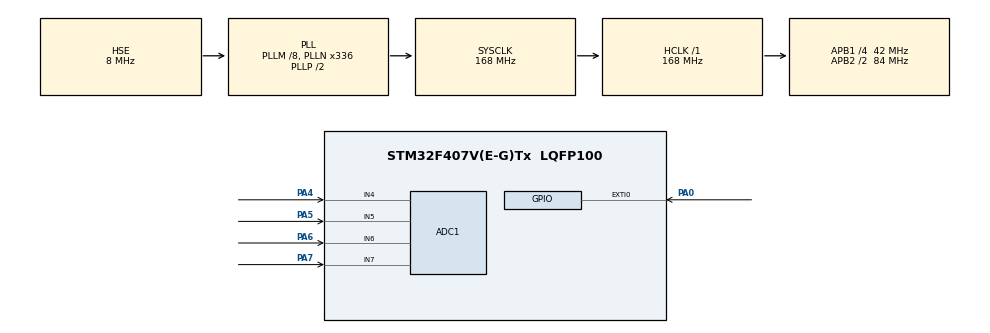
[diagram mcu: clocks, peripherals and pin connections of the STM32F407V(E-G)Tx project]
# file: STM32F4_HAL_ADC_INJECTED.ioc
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ADC1.Channel-0\#ChannelRegularConversion=ADC_CHANNEL_4
ADC1.Channel-1\#ChannelRegularConversion=ADC_CHANNEL_5
ADC1.Channel-2\#ChannelInjectedConversion=ADC_CHANNEL_6
ADC1.Channel-3\#ChannelInjectedConversion=ADC_CHANNEL_7
ADC1.EOCSelection=ADC_EOC_SINGLE_CONV
ADC1.InjNumberOfConversion=2
ADC1.InjectedOffset-2\#ChannelInjectedConversion=0
ADC1.InjectedOffset-3\#ChannelInjectedConversion=0
ADC1.NbrOfConversion=2
ADC1.NbrOfConversionFlag=1
ADC1.Rank-0\#ChannelRegularConversion=1
ADC1.Rank-1\#ChannelRegularConversion=2
ADC1.Rank-2\#ChannelInjectedConversion=1
ADC1.Rank-3\#ChannelInjectedConversion=2
ADC1.SamplingTime-0\#ChannelRegularConversion=ADC_SAMPLETIME_480CYCLES
ADC1.SamplingTime-1\#ChannelRegularConversion=ADC_SAMPLETIME_480CYCLES
ADC1.SamplingTime-2\#ChannelInjectedConversion=ADC_SAMPLETIME_480CYCLES
ADC1.SamplingTime-3\#ChannelInjectedConversion=ADC_SAMPLETIME_480CYCLES
ADC1.ScanConvMode=ENABLE
ADC1.master=1
Mcu.Family=STM32F4
Mcu.Name=STM32F407V(E-G)Tx
Mcu.Package=LQFP100
NVIC.ADC_IRQn=true\:0\:0\:false\:false\:true\:true
NVIC.EXTI0_IRQn=true\:0\:0\:false\:false\:true\:true
NVIC.PriorityGroup=NVIC_PRIORITYGROUP_0
PA0-WKUP.Signal=GPXTI0
PA4.Signal=ADCx_IN4
PA5.Signal=ADCx_IN5
PA6.Signal=ADCx_IN6
PA7.Signal=ADCx_IN7
PH0-OSC_IN.Mode=HSE-External-Oscillator
PH0-OSC_IN.Signal=RCC_OSC_IN
PH1-OSC_OUT.Mode=HSE-External-Oscillator
PH1-OSC_OUT.Signal=RCC_OSC_OUT
ProjectManager.HeapSize=0x200
ProjectManager.StackSize=0x400
ProjectManager.TargetToolchain=TrueSTUDIO
RCC.48MHZClocksFreq_Value=48000000
RCC.AHBFreq_Value=168000000
RCC.APB1CLKDivider=RCC_HCLK_DIV4
RCC.APB1Freq_Value=42000000
RCC.APB1TimFreq_Value=84000000
RCC.APB2CLKDivider=RCC_HCLK_DIV2
RCC.APB2Freq_Value=84000000
RCC.APB2TimFreq_Value=168000000
RCC.CortexFreq_Value=168000000
RCC.HCLKFreq_Value=168000000
RCC.HSE_VALUE=8000000
RCC.HSI_VALUE=16000000
RCC.PLLM=8
RCC.PLLN=336
RCC.PLLQ=7
RCC.PLLSourceVirtual=RCC_PLLSOURCE_HSE
RCC.SYSCLKFreq_VALUE=168000000
RCC.SYSCLKSource=RCC_SYSCLKSOURCE_PLLCLK
RCC.VCOOutputFreq_Value=336000000
SH.ADCx_IN4.0=ADC1_IN4,IN4
SH.ADCx_IN5.0=ADC1_IN5,IN5
SH.ADCx_IN6.0=ADC1_IN6,IN6
SH.ADCx_IN7.0=ADC1_IN7,IN7
board=STM32F4DISCOVERY

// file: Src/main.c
/**
 ******************************************************************************
 * @file           : main.c
 * @brief          : Main program body
 ******************************************************************************
 ** This notice applies to any and all portions of this file
 * that are not between comment pairs USER CODE BEGIN and
 * USER CODE END. Other portions of this file, whether
 * inserted by the user or by software development tools
 * are owned by their respective copyright owners.
 *
 * COPYRIGHT(c) 2019 STMicroelectronics
 *
 * Redistribution and use in source and binary forms, with or without modification,
 * are permitted provided that the following conditions are met:
 *   1. Redistributions of source code must retain the above copyright notice,
 *      this list of conditions and the following disclaimer.
 *   2. Redistributions in binary form must reproduce the above copyright notice,
 *      this list of conditions and the following disclaimer in the documentation
 *      and/or other materials provided with the distribution.
 *   3. Neither the name of STMicroelectronics nor the names of its contributors
 *      may be used to endorse or promote products derived from this software
 *      without specific prior written permission.
 *
 * THIS SOFTWARE IS PROVIDED BY THE COPYRIGHT HOLDERS AND CONTRIBUTORS "AS IS"
 * AND ANY EXPRESS OR IMPLIED WARRANTIES, INCLUDING, BUT NOT LIMITED TO, THE
 * IMPLIED WARRANTIES OF MERCHANTABILITY AND FITNESS FOR A PARTICULAR PURPOSE ARE
 * DISCLAIMED. IN NO EVENT SHALL THE COPYRIGHT HOLDER OR CONTRIBUTORS BE LIABLE
 * FOR ANY DIRECT, INDIRECT, INCIDENTAL, SPECIAL, EXEMPLARY, OR CONSEQUENTIAL
 * DAMAGES (INCLUDING, BUT NOT LIMITED TO, PROCUREMENT OF SUBSTITUTE GOODS OR
 * SERVICES; LOSS OF USE, DATA, OR PROFITS; OR BUSINESS INTERRUPTION) HOWEVER
 * CAUSED AND ON ANY THEORY OF LIABILITY, WHETHER IN CONTRACT, STRICT LIABILITY,
 * OR TORT (INCLUDING NEGLIGENCE OR OTHERWISE) ARISING IN ANY WAY OUT OF THE USE
 * OF THIS SOFTWARE, EVEN IF ADVISED OF THE POSSIBILITY OF SUCH DAMAGE.
 *
 ******************************************************************************
 */
#include "main.h"
#include "stm32f4xx_hal.h"

ADC_HandleTypeDef hadc1;

/* USER CODE BEGIN PV */
/* Private variables ---------------------------------------------------------*/
uint16_t RegularADC[2];
uint16_t InjectedADC[2];
uint8_t EOCIndex = 0;

/* USER CODE END PV */

void SystemClock_Config(void);
static void MX_GPIO_Init(void);
static void MX_ADC1_Init(void);

/* USER CODE BEGIN PFP */
/* Private function prototypes -----------------------------------------------*/

/* USER CODE END PFP */

/* USER CODE BEGIN 0 */
void HAL_ADC_ConvCpltCallback(ADC_HandleTypeDef *hadc)
{
	RegularADC[EOCIndex] = HAL_ADC_GetValue(hadc);
	EOCIndex++;

	if(EOCIndex > 1)
	{
		EOCIndex = 0;
	}

	HAL_ADC_Start_IT(&hadc1);
}

void HAL_ADCEx_InjectedConvCpltCallback(ADC_HandleTypeDef *hadc)
{
	InjectedADC[0] = HAL_ADCEx_InjectedGetValue(hadc, ADC_INJECTED_RANK_1);
	InjectedADC[1] = HAL_ADCEx_InjectedGetValue(hadc, ADC_INJECTED_RANK_2);
}

void HAL_GPIO_EXTI_Callback(uint16_t GPIO_Pin)
{
	if(GPIO_Pin == GPIO_PIN_0)
	{
		HAL_ADCEx_InjectedStart_IT(&hadc1);
	}
}

/* USER CODE END 0 */

int main(void)
{

	/* MCU Configuration----------------------------------------------------------*/

	/* Reset of all peripherals, Initializes the Flash interface and the Systick. */
	HAL_Init();

	/* Configure the system clock */
	SystemClock_Config();

	/* Initialize all configured peripherals */
	MX_GPIO_Init();
	MX_ADC1_Init();
	/* USER CODE BEGIN 2 */
	HAL_ADC_Start_IT(&hadc1);

	/* USER CODE END 2 */

	/* Infinite loop */
	while (1)
	{

	}

}

void SystemClock_Config(void)
{

	RCC_OscInitTypeDef RCC_OscInitStruct;
	RCC_ClkInitTypeDef RCC_ClkInitStruct;

	/**Configure the main internal regulator output voltage
	 */
	__HAL_RCC_PWR_CLK_ENABLE();

	__HAL_PWR_VOLTAGESCALING_CONFIG(PWR_REGULATOR_VOLTAGE_SCALE1);

	/**Initializes the CPU, AHB and APB busses clocks
	 */
	RCC_OscInitStruct.OscillatorType = RCC_OSCILLATORTYPE_HSE;
	RCC_OscInitStruct.HSEState = RCC_HSE_ON;
	RCC_OscInitStruct.PLL.PLLState = RCC_PLL_ON;
	RCC_OscInitStruct.PLL.PLLSource = RCC_PLLSOURCE_HSE;
	RCC_OscInitStruct.PLL.PLLM = 8;
	RCC_OscInitStruct.PLL.PLLN = 336;
	RCC_OscInitStruct.PLL.PLLP = RCC_PLLP_DIV2;
	RCC_OscInitStruct.PLL.PLLQ = 7;
	if (HAL_RCC_OscConfig(&RCC_OscInitStruct) != HAL_OK)
	{
		_Error_Handler(__FILE__, __LINE__);
	}

	/**Initializes the CPU, AHB and APB busses clocks
	 */
	RCC_ClkInitStruct.ClockType = RCC_CLOCKTYPE_HCLK|RCC_CLOCKTYPE_SYSCLK
			|RCC_CLOCKTYPE_PCLK1|RCC_CLOCKTYPE_PCLK2;
	RCC_ClkInitStruct.SYSCLKSource = RCC_SYSCLKSOURCE_PLLCLK;
	RCC_ClkInitStruct.AHBCLKDivider = RCC_SYSCLK_DIV1;
	RCC_ClkInitStruct.APB1CLKDivider = RCC_HCLK_DIV4;
	RCC_ClkInitStruct.APB2CLKDivider = RCC_HCLK_DIV2;

	if (HAL_RCC_ClockConfig(&RCC_ClkInitStruct, FLASH_LATENCY_5) != HAL_OK)
	{
		_Error_Handler(__FILE__, __LINE__);
	}

	/**Configure the Systick interrupt time
	 */
	HAL_SYSTICK_Config(HAL_RCC_GetHCLKFreq()/1000);

	/**Configure the Systick
	 */
	HAL_SYSTICK_CLKSourceConfig(SYSTICK_CLKSOURCE_HCLK);

	/* SysTick_IRQn interrupt configuration */
	HAL_NVIC_SetPriority(SysTick_IRQn, 0, 0);
}

/* ADC1 init function */
static void MX_ADC1_Init(void)
{

	ADC_ChannelConfTypeDef sConfig;
	ADC_InjectionConfTypeDef sConfigInjected;

	/**Configure the global features of the ADC (Clock, Resolution, Data Alignment and number of conversion)
	 */
	hadc1.Instance = ADC1;
	hadc1.Init.ClockPrescaler = ADC_CLOCK_SYNC_PCLK_DIV4;
	hadc1.Init.Resolution = ADC_RESOLUTION_12B;
	hadc1.Init.ScanConvMode = ENABLE;
	hadc1.Init.ContinuousConvMode = DISABLE;
	hadc1.Init.DiscontinuousConvMode = DISABLE;
	hadc1.Init.ExternalTrigConvEdge = ADC_EXTERNALTRIGCONVEDGE_NONE;
	hadc1.Init.ExternalTrigConv = ADC_SOFTWARE_START;
	hadc1.Init.DataAlign = ADC_DATAALIGN_RIGHT;
	hadc1.Init.NbrOfConversion = 2;
	hadc1.Init.DMAContinuousRequests = DISABLE;
	hadc1.Init.EOCSelection = ADC_EOC_SINGLE_CONV;
	if (HAL_ADC_Init(&hadc1) != HAL_OK)
	{
		_Error_Handler(__FILE__, __LINE__);
	}

	/**Configure for the selected ADC regular channel its corresponding rank in the sequencer and its sample time.
	 */
	sConfig.Channel = ADC_CHANNEL_4;
	sConfig.Rank = 1;
	sConfig.SamplingTime = ADC_SAMPLETIME_480CYCLES;
	if (HAL_ADC_ConfigChannel(&hadc1, &sConfig) != HAL_OK)
	{
		_Error_Handler(__FILE__, __LINE__);
	}

	/**Configure for the selected ADC regular channel its corresponding rank in the sequencer and its sample time.
	 */
	sConfig.Channel = ADC_CHANNEL_5;
	sConfig.Rank = 2;
	if (HAL_ADC_ConfigChannel(&hadc1, &sConfig) != HAL_OK)
	{
		_Error_Handler(__FILE__, __LINE__);
	}

	/**Configures for the selected ADC injected channel its corresponding rank in the sequencer and its sample time
	 */
	sConfigInjected.InjectedChannel = ADC_CHANNEL_6;
	sConfigInjected.InjectedRank = 1;
	sConfigInjected.InjectedNbrOfConversion = 2;
	sConfigInjected.InjectedSamplingTime = ADC_SAMPLETIME_480CYCLES;
	sConfigInjected.ExternalTrigInjecConvEdge = ADC_EXTERNALTRIGINJECCONVEDGE_NONE;
	sConfigInjected.ExternalTrigInjecConv = ADC_INJECTED_SOFTWARE_START;
	sConfigInjected.AutoInjectedConv = DISABLE;
	sConfigInjected.InjectedDiscontinuousConvMode = DISABLE;
	sConfigInjected.InjectedOffset = 0;
	if (HAL_ADCEx_InjectedConfigChannel(&hadc1, &sConfigInjected) != HAL_OK)
	{
		_Error_Handler(__FILE__, __LINE__);
	}

	/**Configures for the selected ADC injected channel its corresponding rank in the sequencer and its sample time
	 */
	sConfigInjected.InjectedChannel = ADC_CHANNEL_7;
	sConfigInjected.InjectedRank = 2;
	if (HAL_ADCEx_InjectedConfigChannel(&hadc1, &sConfigInjected) != HAL_OK)
	{
		_Error_Handler(__FILE__, __LINE__);
	}

}

/** Configure pins as
 * Analog
 * Input
 * Output
 * EVENT_OUT
 * EXTI
 */
static void MX_GPIO_Init(void)
{

	GPIO_InitTypeDef GPIO_InitStruct;

	/* GPIO Ports Clock Enable */
	__HAL_RCC_GPIOH_CLK_ENABLE();
	__HAL_RCC_GPIOA_CLK_ENABLE();

	/*Configure GPIO pin : PA0 */
	GPIO_InitStruct.Pin = GPIO_PIN_0;
	GPIO_InitStruct.Mode = GPIO_MODE_IT_RISING;
	GPIO_InitStruct.Pull = GPIO_NOPULL;
	HAL_GPIO_Init(GPIOA, &GPIO_InitStruct);

	/* EXTI interrupt init*/
	HAL_NVIC_SetPriority(EXTI0_IRQn, 0, 0);
	HAL_NVIC_EnableIRQ(EXTI0_IRQn);

}

void _Error_Handler(char *file, int line)
{
	while(1)
	{
	}
}

/************************ (C) COPYRIGHT STMicroelectronics *****END OF FILE****/
